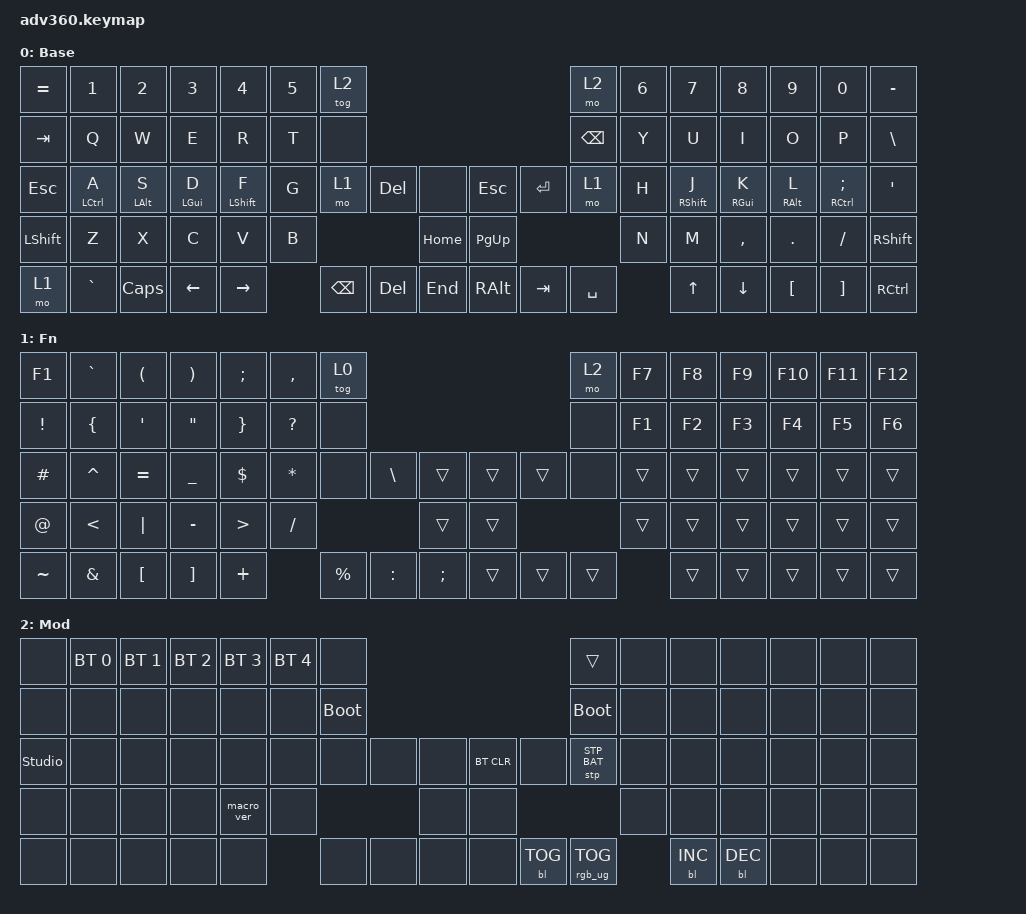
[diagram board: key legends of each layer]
#include <dt-bindings/zmk/stp.h>
#include <behaviors.dtsi>
#include <dt-bindings/zmk/backlight.h>
#include <dt-bindings/zmk/bt.h>
#include <dt-bindings/zmk/keys.h>
#include <dt-bindings/zmk/rgb.h>

/ {
    behaviors {
        #include "macros.dtsi"
      #include "version.dtsi"

        hm: homerow_mods {
            compatible = "zmk,behavior-hold-tap";
            label = "HOMEROW_MODS";
            #binding-cells = <2>;
            tapping-term-ms = <250>;
            quick_tap_ms = <175>;
            flavor = "tap-preferred";
            bindings = <&kp>, <&kp>;
        };

        hmfast: hmfast {
            compatible = "zmk,behavior-hold-tap";
            label = "HMFAST";
            #binding-cells = <2>;
            tapping-term-ms = <175>;
            quick_tap_ms = <175>;
            flavor = "tap-preferred";
            bindings = <&kp>, <&kp>;
        };
    };

    keymap {
        compatible = "zmk,keymap";

        default_layer {
            display-name = "Base";
            bindings = <
&kp EQUAL  &kp N1       &kp N2          &kp N3          &kp N4                &kp N5  &tog 2                                                          &mo 2          &kp N6  &kp N7                 &kp N8           &kp N9           &kp N0               &kp MINUS
&kp TAB    &kp Q        &kp W           &kp E           &kp R                 &kp T   &none                                                           &kp BACKSPACE  &kp Y   &kp U                  &kp I            &kp O            &kp P                &kp BSLH
&kp ESC    &hm LCTRL A  &hm LEFT_ALT S  &hm LEFT_GUI D  &hmfast LEFT_SHIFT F  &kp G   &mo 1          &kp DEL  &none         &kp ESCAPE     &kp ENTER  &mo 1          &kp H   &hmfast RIGHT_SHIFT J  &hm RIGHT_GUI K  &hm RIGHT_ALT L  &hm RCTRL SEMICOLON  &kp SQT
&kp LSHFT  &kp Z        &kp X           &kp C           &kp V                 &kp B                           &kp HOME      &kp PG_UP                                &kp N   &kp M                  &kp COMMA        &kp DOT          &kp FSLH             &kp RSHFT
&mo 1      &kp GRAVE    &kp CAPS        &kp LEFT        &kp RIGHT                     &kp BACKSPACE  &kp DEL  &kp END       &kp RIGHT_ALT  &kp TAB    &kp SPACE              &kp UP                 &kp DOWN         &kp LBKT         &kp RBKT             &kp RCTRL
            >;
        };

        fn {
            display-name = "Fn";
            bindings = <
&kp F1           &kp GRAVE       &kp LEFT_PARENTHESIS  &kp RIGHT_PARENTHESIS  &kp SEMICOLON     &kp COMMA     &tog 0                                                         &mo 2   &kp F7  &kp F8  &kp F9  &kp F10  &kp F11  &kp F12
&kp EXCLAMATION  &kp LEFT_BRACE  &kp SINGLE_QUOTE      &kp DOUBLE_QUOTES      &kp RIGHT_BRACE   &kp QUESTION  &none                                                          &none   &kp F1  &kp F2  &kp F3  &kp F4   &kp F5   &kp F6
&kp HASH         &kp CARET       &kp EQUAL             &kp UNDERSCORE         &kp DOLLAR        &kp STAR      &none        &kp BACKSLASH  &trans             &trans  &trans  &none   &trans  &trans  &trans  &trans   &trans   &trans
&kp AT_SIGN      &kp LESS_THAN   &kp PIPE              &kp MINUS              &kp GREATER_THAN  &kp SLASH                                 &trans             &trans                  &trans  &trans  &trans  &trans   &trans   &trans
&kp TILDE        &kp AMPERSAND   &kp LEFT_BRACKET      &kp RIGHT_BRACKET      &kp PLUS                        &kp PERCENT  &kp COLON      &kp SEMICOLON      &trans  &trans  &trans          &trans  &trans  &trans   &trans   &trans
            >;
        };

        mod {
            display-name = "Mod";
            bindings = <
&none           &bt BT_SEL 0  &bt BT_SEL 1  &bt BT_SEL 2  &bt BT_SEL 3  &bt BT_SEL 4  &none                                                  &trans           &none  &none       &none       &none  &none  &none
&none           &none         &none         &none         &none         &none         &bootloader                                            &bootloader      &none  &none       &none       &none  &none  &none
&studio_unlock  &none         &none         &none         &none         &none         &none        &none  &none      &bt BT_CLR  &none       &stp STP_BAT     &none  &none       &none       &none  &none  &none
&none           &none         &none         &none         &macro_ver    &none                             &none      &none                                    &none  &none       &none       &none  &none  &none
&none           &none         &none         &none         &none                       &none        &none  &none      &none       &bl BL_TOG  &rgb_ug RGB_TOG         &bl BL_INC  &bl BL_DEC  &none  &none  &none
            >;
        };
    };
};
